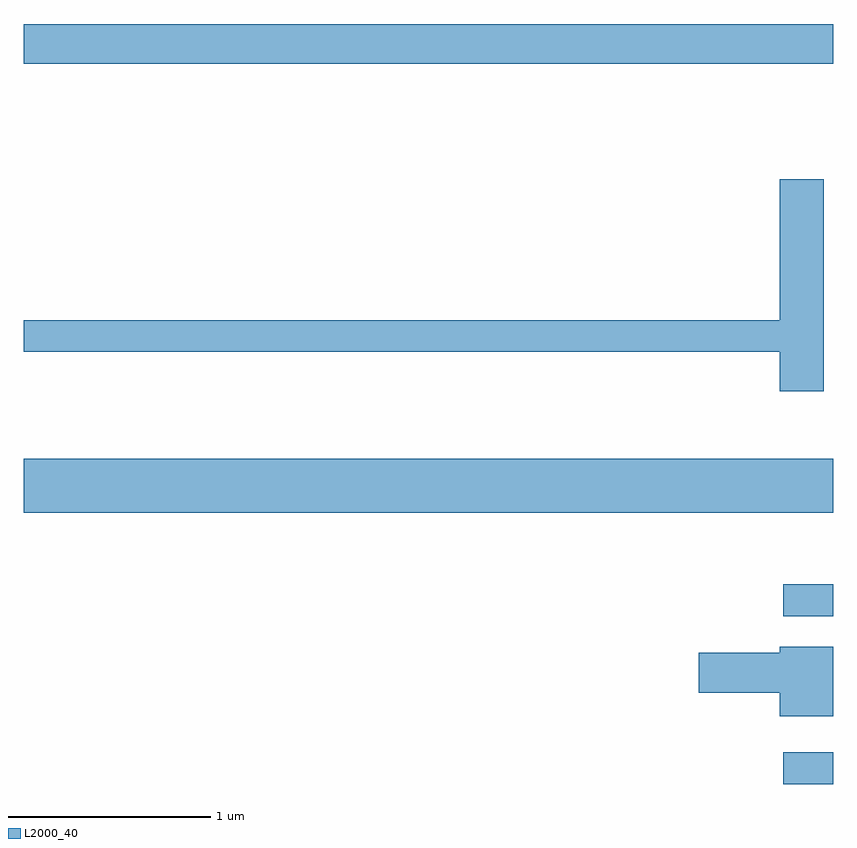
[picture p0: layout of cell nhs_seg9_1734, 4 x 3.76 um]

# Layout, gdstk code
import gdstk
lib = gdstk.Library(unit=1e-6, precision=1e-09)
def R(c, l, rs):  # rectangles x0, y0, x1, y1
    for r in rs: c.add(gdstk.rectangle(r[:2], r[2:], *l))
def P(c, l, *ps):  # polygons
    for p in ps: c.add(gdstk.Polygon(p, *l))
L2000_40 = (2000, 40)

nhs_seg9_1734 = lib.new_cell('nhs_seg9_1734')
R(nhs_seg9_1734, L2000_40, [(239.363,2012.676,239.611,2012.834), (239.363,2013.506,239.611,2013.664), (235.611,2014.016,239.611,2014.284), (235.611,2016.236,239.611,2016.432)])
P(nhs_seg9_1734, L2000_40, [(239.564,2015.664),(239.346,2015.664),(239.346,2014.969),(235.611,2014.969),(235.611,2014.811),(239.346,2014.811),(239.346,2014.616),(239.564,2014.616)],
  [(239.611,2013.354),(239.346,2013.354),(239.346,2013.324),(238.946,2013.324),(238.946,2013.126),(239.346,2013.126),(239.346,2013.011),(239.611,2013.011)])

lib.write_gds('nhs_seg9_1734.gds')
